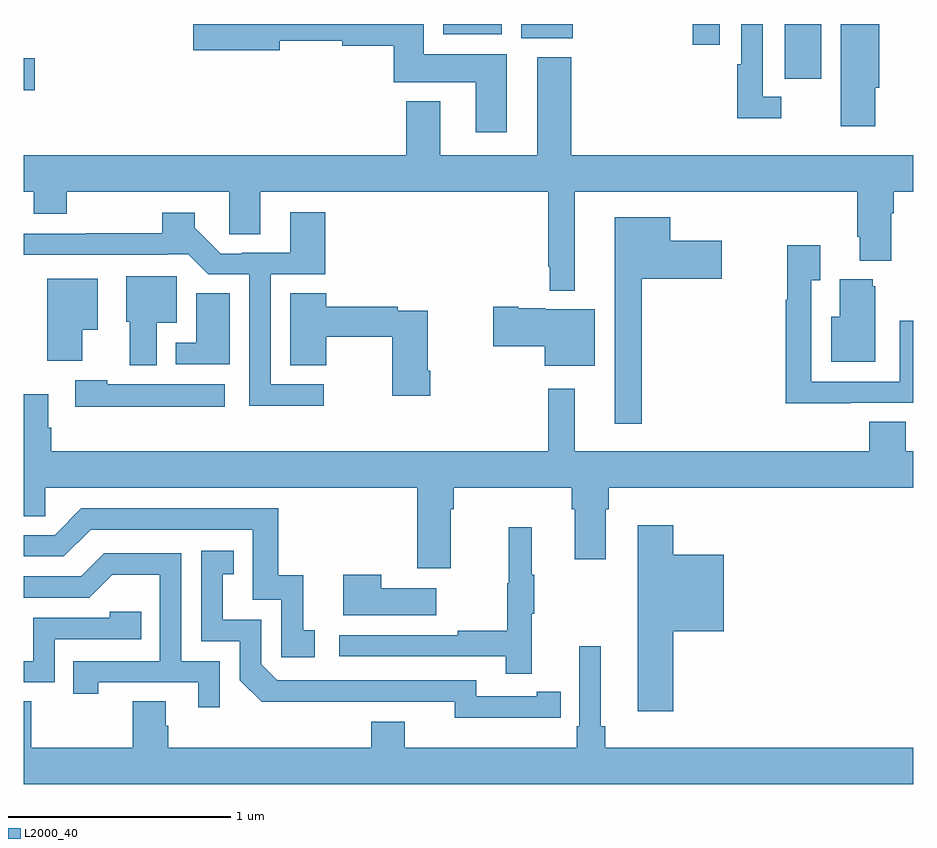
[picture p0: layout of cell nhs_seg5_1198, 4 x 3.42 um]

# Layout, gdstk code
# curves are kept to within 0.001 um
import gdstk
lib = gdstk.Library(unit=1e-6, precision=1e-09)
def R(c, l, rs):  # rectangles x0, y0, x1, y1
    for r in rs: c.add(gdstk.rectangle(r[:2], r[2:], *l))
def P(c, l, *ps):  # polygons
    for p in ps: c.add(gdstk.Polygon(p, *l))
L2000_40 = (2000, 40)

nhs_seg5_1198 = lib.new_cell('nhs_seg5_1198')
R(nhs_seg5_1198, L2000_40, [(183,906.502,183.049,906.644), (186.422,906.552,186.586,906.799), (186.008,906.705,186.13,906.799), (185.237,906.734,185.47,906.799), (184.886,906.752,185.149,906.799)])
P(nhs_seg5_1198, L2000_40, [(186.406,906.471),(186.324,906.471),(186.324,906.799),(186.228,906.799),(186.228,906.617),(186.208,906.617),(186.208,906.374),(186.406,906.374)],
  [(186.829,906.513),(186.847,906.513),(186.847,906.799),(186.674,906.799),(186.674,906.339),(186.829,906.339)],
  [(185.173,906.664),(184.798,906.664),(184.798,906.799),(183.762,906.799),(183.762,906.682),(184.15,906.682),(184.15,906.724),(184.433,906.724),(184.433,906.701),(184.664,906.701),(184.664,906.536),(185.033,906.536),(185.033,906.312),(185.173,906.312)],
  [(183,906.044),(183.044,906.044),(183.044,905.945),(183.192,905.945),(183.192,906.044),(183.924,906.044),(183.924,905.854),(184.063,905.854),(184.063,906.044),(185.358,906.044),(185.358,905.707),(185.365,905.707),(185.365,905.6),(185.479,905.6),(185.479,906.044),(186.749,906.044),(186.749,905.842),(186.761,905.842),(186.761,905.735),(186.901,905.735),(186.901,905.948),(186.914,905.948),(186.914,906.044),(187,906.044),(187,906.208),(185.462,906.208),(185.462,906.649),(185.309,906.649),(185.309,906.208),(184.873,906.208),(184.873,906.451),(184.721,906.451),(184.721,906.208),(183,906.208)],
  [(184.348,905.178),(184.11,905.178),(184.11,905.673),(184.355,905.673),(184.355,905.953),(184.199,905.953),(184.199,905.769),(183.979,905.769),(183.979,905.766),(183.885,905.766),(183.769,905.882),(183.769,905.95),(183.622,905.95),(183.622,905.858),(183.28,905.858),(183.28,905.856),(183,905.856),(183,905.76),(183.644,905.76),(183.644,905.763),(183.74,905.763),(183.83,905.673),(184.014,905.673),(184.014,905.081),(184.348,905.081)],
  [(185.779,905.654),(186.139,905.654),(186.139,905.824),(185.908,905.824),(185.908,905.929),(185.657,905.929),(185.657,905.001),(185.779,905.001)],
  [(186.719,905.094),(187,905.094),(187,905.464),(186.939,905.464),(186.939,905.19),(186.543,905.19),(186.543,905.647),(186.583,905.647),(186.583,905.803),(186.435,905.803),(186.435,905.558),(186.427,905.558),(186.427,905.093),(186.719,905.093)],
  [(183.598,905.456),(183.688,905.456),(183.688,905.665),(183.461,905.665),(183.461,905.46),(183.476,905.46),(183.476,905.264),(183.598,905.264)],
  [(183.262,905.423),(183.331,905.423),(183.331,905.653),(183.104,905.653),(183.104,905.283),(183.262,905.283)],
  [(186.829,905.619),(186.818,905.619),(186.818,905.65),(186.671,905.65),(186.671,905.482),(186.632,905.482),(186.632,905.279),(186.829,905.279)],
  [(184.829,905.239),(184.816,905.239),(184.816,905.508),(184.682,905.508),(184.682,905.528),(184.36,905.528),(184.36,905.588),(184.199,905.588),(184.199,905.263),(184.36,905.263),(184.36,905.392),(184.658,905.392),(184.658,905.127),(184.829,905.127)],
  [(183.925,905.588),(183.776,905.588),(183.776,905.364),(183.683,905.364),(183.683,905.268),(183.925,905.268)],
  [(185.569,905.515),(185.346,905.515),(185.346,905.521),(185.224,905.521),(185.224,905.528),(185.112,905.528),(185.112,905.35),(185.342,905.35),(185.342,905.261),(185.569,905.261)],
  [(183.904,905.179),(183.375,905.179),(183.375,905.197),(183.231,905.197),(183.231,905.078),(183.904,905.078)],
  [(184.921,904.616),(184.934,904.616),(184.934,904.712),(185.465,904.712),(185.465,904.616),(185.477,904.616),(185.477,904.392),(185.617,904.392),(185.617,904.616),(185.63,904.616),(185.63,904.712),(187,904.712),(187,904.876),(186.968,904.876),(186.968,905.009),(186.803,905.009),(186.803,904.876),(185.479,904.876),(185.479,905.158),(185.358,905.158),(185.358,904.876),(183.122,904.876),(183.122,904.982),(183.109,904.982),(183.109,905.134),(183,905.134),(183,904.585),(183.096,904.585),(183.096,904.712),(184.769,904.712),(184.769,904.35),(184.921,904.35)],
  [(184.309,904.071),(184.256,904.071),(184.256,904.318),(184.145,904.318),(184.145,904.62),(183.258,904.62),(183.138,904.5),(183,904.5),(183,904.404),(183.18,904.404),(183.3,904.524),(184.029,904.524),(184.029,904.209),(184.158,904.209),(184.158,903.951),(184.309,903.951)],
  [(185.921,904.067),(186.148,904.067),(186.148,904.411),(185.921,904.411),(185.921,904.543),(185.762,904.543),(185.762,903.708),(185.921,903.708)],
  [(185.285,904.147),(185.296,904.147),(185.296,904.321),(185.285,904.321),(185.285,904.534),(185.182,904.534),(185.182,904.284),(185.175,904.284),(185.175,904.07),(184.951,904.07),(184.951,904.05),(184.419,904.05),(184.419,903.954),(185.167,903.954),(185.167,903.876),(185.285,903.876)],
  [(185.306,903.678),(185.414,903.678),(185.414,903.794),(185.306,903.794),(185.306,903.774),(185.034,903.774),(185.034,903.846),(184.14,903.846),(184.068,903.918),(184.068,904.119),(183.895,904.119),(183.895,904.323),(183.944,904.323),(183.944,904.429),(183.798,904.429),(183.798,904.023),(183.972,904.023),(183.972,903.846),(184.07,903.749),(184.938,903.75),(184.938,903.677)],
  [(183.882,903.933),(183.708,903.933),(183.708,904.419),(183.362,904.419),(183.257,904.314),(183,904.314),(183,904.218),(183.294,904.218),(183.398,904.322),(183.612,904.322),(183.612,903.933),(183.223,903.933),(183.223,903.786),(183.334,903.786),(183.334,903.837),(183.785,903.837),(183.785,903.726),(183.882,903.726)],
  [(184.855,904.261),(184.607,904.261),(184.607,904.321),(184.436,904.321),(184.436,904.139),(184.855,904.139)],
  [(183.138,904.032),(183.527,904.032),(183.527,904.155),(183.387,904.155),(183.387,904.128),(183.042,904.128),(183.042,903.933),(183,903.933),(183,903.837),(183.138,903.837)],
  [(187,903.544),(185.615,903.544),(185.615,903.64),(185.596,903.64),(185.596,904),(185.499,904),(185.499,903.64),(185.486,903.64),(185.486,903.544),(184.714,903.544),(184.714,903.661),(184.562,903.661),(184.562,903.544),(183.65,903.544),(183.65,903.642),(183.637,903.642),(183.637,903.752),(183.49,903.752),(183.49,903.544),(183.033,903.544),(183.033,903.752),(183,903.752),(183,903.38),(187,903.38)])

lib.write_gds('nhs_seg5_1198.gds')
